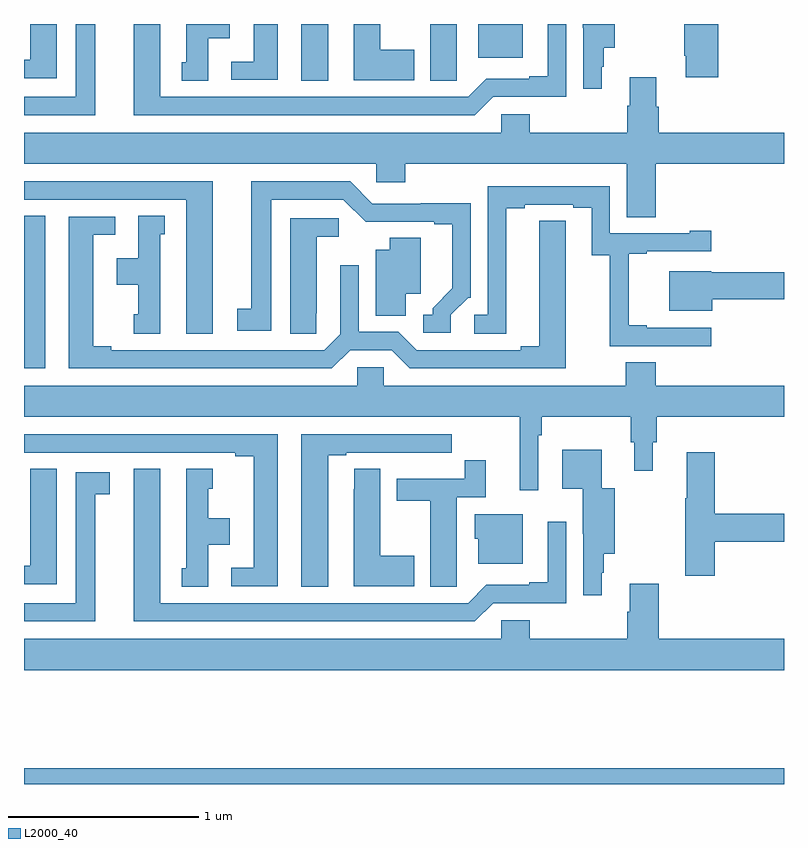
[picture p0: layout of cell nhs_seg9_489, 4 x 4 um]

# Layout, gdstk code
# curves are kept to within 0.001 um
import gdstk
lib = gdstk.Library(unit=1e-6, precision=1e-09)
def R(c, l, rs):  # rectangles x0, y0, x1, y1
    for r in rs: c.add(gdstk.rectangle(r[:2], r[2:], *l))
def P(c, l, *ps):  # polygons
    for p in ps: c.add(gdstk.Polygon(p, *l))
L2000_40 = (2000, 40)

nhs_seg9_489 = lib.new_cell('nhs_seg9_489')
R(nhs_seg9_489, L2000_40, [(135,1182.5,139,1182.584), (135,1184.688,135.112,1185.491), (136.46,1186.201,136.6,1186.5), (137.39,1186.322,137.626,1186.5)])
P(nhs_seg9_489, L2000_40, [(138.04,1186.275),(138.052,1186.275),(138.052,1186.376),(138.108,1186.376),(138.108,1186.5),(137.942,1186.5),(137.942,1186.48),(137.943,1186.48),(137.943,1186.158),(138.04,1186.158)],
  [(135.97,1186.424),(136.084,1186.424),(136.084,1186.5),(135.854,1186.5),(135.854,1186.299),(135.83,1186.299),(135.83,1186.201),(135.97,1186.201)],
  [(136.336,1186.5),(136.208,1186.5),(136.208,1186.302),(136.092,1186.302),(136.092,1186.206),(136.336,1186.206)],
  [(138.653,1186.5),(138.475,1186.5),(138.475,1186.333),(138.482,1186.333),(138.482,1186.221),(138.653,1186.221)],
  [(135.172,1186.5),(135.032,1186.5),(135.032,1186.312),(135,1186.312),(135,1186.215),(135.172,1186.215)],
  [(137.469,1186.116),(137.853,1186.116),(137.853,1186.5),(137.756,1186.5),(137.756,1186.225),(137.66,1186.225),(137.66,1186.212),(137.433,1186.212),(137.337,1186.116),(135.718,1186.116),(135.718,1186.5),(135.578,1186.5),(135.578,1186.02),(137.373,1186.02)],
  [(135.376,1186.5),(135.272,1186.5),(135.272,1186.116),(135,1186.116),(135,1186.02),(135.376,1186.02)],
  [(137.277,1186.312),(137.278,1186.312),(137.278,1186.5),(137.138,1186.5),(137.138,1186.201),(137.277,1186.201)],
  [(137.053,1186.365),(136.876,1186.365),(136.876,1186.5),(136.736,1186.5),(136.736,1186.205),(137.053,1186.205)],
  [(135,1185.764),(136.854,1185.764),(136.854,1185.666),(137.006,1185.666),(137.006,1185.764),(138.173,1185.764),(138.173,1185.484),(138.326,1185.484),(138.326,1185.764),(139,1185.764),(139,1185.928),(138.341,1185.928),(138.341,1186.065),(138.328,1186.065),(138.328,1186.219),(138.188,1186.219),(138.188,1186.07),(138.176,1186.07),(138.176,1185.928),(137.663,1185.928),(137.663,1186.026),(137.511,1186.026),(137.511,1185.928),(135,1185.928)],
  [(135.994,1185.672),(135,1185.672),(135,1185.576),(135.854,1185.576),(135.854,1184.871),(135.994,1184.871)],
  [(137.247,1184.97),(137.337,1185.06),(137.352,1185.06),(137.352,1185.557),(137.089,1185.557),(137.089,1185.555),(136.833,1185.555),(136.716,1185.672),(136.196,1185.672),(136.196,1185.002),(136.122,1185.002),(136.122,1184.886),(136.3,1184.886),(136.3,1185.576),(136.68,1185.576),(136.798,1185.458),(137.159,1185.459),(137.159,1185.447),(137.255,1185.447),(137.255,1185.11),(137.15,1185.005),(137.15,1184.97),(137.1,1184.97),(137.1,1184.874),(137.247,1184.874)],
  [(138.616,1184.901),(138.277,1184.901),(138.277,1184.914),(138.182,1184.914),(138.182,1185.291),(138.277,1185.291),(138.277,1185.303),(138.616,1185.303),(138.616,1185.412),(138.503,1185.412),(138.503,1185.399),(138.084,1185.399),(138.084,1185.645),(137.442,1185.645),(137.442,1184.97),(137.37,1184.97),(137.37,1184.869),(137.539,1184.869),(137.539,1185.529),(137.635,1185.529),(137.635,1185.549),(137.891,1185.549),(137.891,1185.534),(137.987,1185.534),(137.987,1185.283),(138.082,1185.283),(138.082,1184.805),(138.616,1184.805)],
  [(135.718,1185.393),(135.742,1185.393),(135.742,1185.491),(135.602,1185.491),(135.602,1185.268),(135.488,1185.268),(135.488,1185.128),(135.602,1185.128),(135.602,1184.973),(135.578,1184.973),(135.578,1184.871),(135.718,1184.871)],
  [(136.717,1184.784),(136.935,1184.784),(137.031,1184.688),(137.851,1184.688),(137.85,1185.464),(137.711,1185.464),(137.711,1184.804),(137.615,1184.804),(137.615,1184.784),(137.067,1184.784),(136.971,1184.88),(136.761,1184.88),(136.761,1185.229),(136.665,1185.229),(136.665,1184.868),(136.581,1184.784),(135.46,1184.784),(135.46,1184.804),(135.364,1184.804),(135.364,1185.39),(135.481,1185.39),(135.481,1185.486),(135.236,1185.486),(135.236,1184.688),(136.621,1184.688)],
  [(136.539,1184.977),(136.54,1184.977),(136.54,1185.38),(136.657,1185.38),(136.657,1185.477),(136.4,1185.477),(136.4,1184.869),(136.539,1184.869)],
  [(137.008,1185.08),(137.089,1185.08),(137.089,1185.374),(136.925,1185.374),(136.925,1185.313),(136.85,1185.313),(136.85,1184.965),(137.008,1184.965)],
  [(138.622,1185.052),(139,1185.052),(139,1185.194),(138.618,1185.194),(138.618,1185.199),(138.395,1185.199),(138.395,1184.99),(138.622,1184.99)],
  [(137.706,1184.336),(137.726,1184.336),(137.726,1184.432),(138.193,1184.432),(138.193,1184.298),(138.212,1184.298),(138.212,1184.148),(138.31,1184.148),(138.31,1184.298),(138.329,1184.298),(138.329,1184.432),(139,1184.432),(139,1184.596),(138.326,1184.596),(138.326,1184.72),(138.166,1184.72),(138.166,1184.596),(136.893,1184.596),(136.893,1184.694),(136.755,1184.694),(136.755,1184.596),(135,1184.596),(135,1184.432),(137.609,1184.432),(137.609,1184.046),(137.706,1184.046)],
  [(136.6,1184.229),(136.696,1184.229),(136.696,1184.244),(136.972,1184.244),(136.972,1184.243),(137.138,1184.243),(137.138,1184.244),(137.251,1184.244),(137.251,1184.34),(136.46,1184.34),(136.46,1183.537),(136.6,1183.537)],
  [(136.336,1184.34),(135,1184.34),(135,1184.244),(136.112,1184.244),(136.112,1184.224),(136.208,1184.224),(136.208,1183.638),(136.092,1183.638),(136.092,1183.542),(136.336,1183.542)],
  [(138.04,1183.611),(138.052,1183.611),(138.052,1183.712),(138.108,1183.712),(138.108,1184.056),(138.04,1184.056),(138.04,1184.26),(137.834,1184.26),(137.834,1184.054),(137.942,1184.054),(137.942,1183.816),(137.943,1183.816),(137.943,1183.494),(138.04,1183.494)],
  [(138.635,1183.775),(139,1183.775),(139,1183.922),(138.635,1183.922),(138.635,1184.245),(138.488,1184.245),(138.488,1184.005),(138.481,1184.005),(138.481,1183.596),(138.635,1183.596)],
  [(137.277,1183.648),(137.278,1183.648),(137.278,1184.01),(137.429,1184.01),(137.429,1184.203),(137.32,1184.203),(137.32,1184.106),(136.961,1184.106),(136.961,1183.99),(137.138,1183.99),(137.138,1183.537),(137.277,1183.537)],
  [(135.172,1184.159),(135.033,1184.159),(135.033,1184.051),(135.032,1184.051),(135.032,1183.648),(135,1183.648),(135,1183.551),(135.172,1183.551)],
  [(137.053,1183.701),(136.876,1183.701),(136.876,1184.159),(136.737,1184.159),(136.737,1184.051),(136.736,1184.051),(136.736,1183.541),(137.053,1183.541)],
  [(135.97,1183.76),(136.084,1183.76),(136.084,1183.9),(135.97,1183.9),(135.97,1184.055),(135.994,1184.055),(135.994,1184.158),(135.854,1184.158),(135.854,1183.635),(135.83,1183.635),(135.83,1183.537),(135.97,1183.537)],
  [(137.469,1183.452),(137.853,1183.452),(137.853,1183.879),(137.756,1183.879),(137.756,1183.561),(137.66,1183.561),(137.66,1183.548),(137.433,1183.548),(137.337,1183.452),(135.718,1183.452),(135.718,1184.158),(135.578,1184.158),(135.578,1183.356),(137.373,1183.356)],
  [(135.376,1184.026),(135.451,1184.026),(135.451,1184.142),(135.272,1184.142),(135.272,1183.452),(135,1183.452),(135,1183.356),(135.376,1183.356)],
  [(137.626,1183.921),(137.372,1183.921),(137.372,1183.791),(137.39,1183.791),(137.39,1183.658),(137.626,1183.658)],
  [(139,1183.264),(138.341,1183.264),(138.341,1183.555),(138.188,1183.555),(138.188,1183.406),(138.176,1183.406),(138.176,1183.264),(137.663,1183.264),(137.663,1183.362),(137.511,1183.362),(137.511,1183.264),(135,1183.264),(135,1183.1),(139,1183.1)])

lib.write_gds('nhs_seg9_489.gds')
